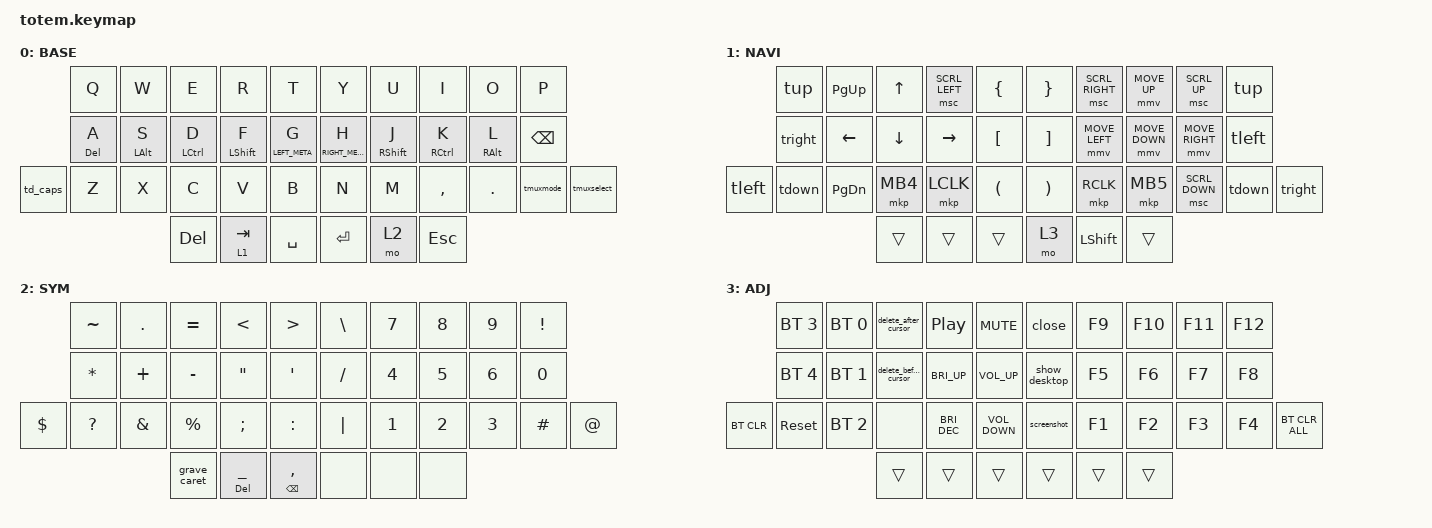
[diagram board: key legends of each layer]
//
//                                                        ▀▀▀▀▀     ▀▀▀▀▀          ▀▀█▀▀
//                                                        ▄▀▀▀▄  ▄  ▄▀▀▀▄  ▄  ▄▀▀▀▄  █  ▄▀▀▀▄
//                                                        █   █  █  █   █  █  █   █  █  █   █
//                                                         ▀▀▀   █   ▀▀▀   █   ▀▀▀   ▀   ▀▀▀
//                                                               █      ▄▄▄█▄▄▄    █   █  
//                                                               ▀      █  █  █     █▄█
//                                                             ▀▀▀▀▀    █  █  █      ▀
//                                                                      ▀  ▀  ▀
//
// ▄▄▄▄▄▄▄▄▄▄▄▄▄▄▄▄▄▄▄▄▄▄▄▄▄▄▄▄▄▄▄▄▄▄▄▄▄▄▄▄▄▄▄▄▄▄▄▄▄▄▄▄▄▄▄▄▄▄▄▄▄▄▄▄▄▄▄▄▄▄▄▄▄▄▄▄▄▄▄▄▄▄▄▄▄▄▄▄▄▄▄▄▄▄▄▄▄▄▄▄▄▄▄▄▄▄▄▄▄▄▄▄▄▄▄▄▄▄▄▄▄▄▄▄▄▄▄▄▄▄▄▄▄▄▄▄▄▄▄▄▄▄▄▄▄▄▄▄▄

#define ZMK_POINTING_DEFAULT_MOVE_VAL 700
#define ZMK_POINTING_DEFAULT_SCRL_VAL 20

#include <behaviors.dtsi>
#include <dt-bindings/zmk/bt.h>
#include <dt-bindings/zmk/keys.h>
#include <dt-bindings/zmk/pointing.h>

#define BASE 0
#define NAV  1
#define SYM  2
#define ADJ 3

&mmv {
    acceleration-exponent = <1>;
    time-to-max-speed-ms = <100>;
};

/ {
    combos { compatible = "zmk,combos"; };

    behaviors {
        td_caps: td_caps {
            compatible = "zmk,behavior-tap-dance";
            #binding-cells = <0>;
            bindings = <&caps_word>, <&kp CAPS>;
        };

        hml: home_row_mod_left {
            compatible = "zmk,behavior-hold-tap";
            #binding-cells = <2>;
            flavor = "balanced";
            tapping-term-ms = <280>;
            quick-tap-ms = <175>;
            require-prior-idle-ms = <210>;
            hold-trigger-on-release;
            hold-trigger-key-positions = <5 6 7 8 9 15 16 17 18 19 26 27 28 29 30 31 32 33 34 35 36 37>;
            bindings = <&kp>, <&kp>;
        };

        hmr: home_row_mod_right {
            compatible = "zmk,behavior-hold-tap";
            #binding-cells = <2>;
            flavor = "balanced";
            tapping-term-ms = <280>;
            quick-tap-ms = <175>;
            require-prior-idle-ms = <210>;
            hold-trigger-on-release;
            hold-trigger-key-positions = <0 1 2 3 4 10 11 12 13 14 20 21 22 23 24 25 32 33 34 35 36 37>;
            bindings = <&kp>, <&kp>;
        };

        grave_caret: grave_caret {
            compatible = "zmk,behavior-tap-dance";
            #binding-cells = <0>;
            bindings = <&kp CARET>, <&kp GRAVE>;

            label = "GRAVE_CARET";
        };

        del_bkp: del_bkp {
            compatible = "zmk,behavior-hold-tap";
            #binding-cells = <2>;
            flavor = "balanced";
            tapping-term-ms = <280>;
            quick-tap-ms = <175>;
            require-prior-idle-ms = <210>;
            hold-trigger-on-release;
            hold-trigger-key-positions = <0 1 2 3 4 10 11 12 13 14 20 21 22 23 24 25 32 33 34 35 36 37>;
            bindings = <&kp>, <&kp>;

            label = "DEL_BKP";
        };

        close: close {
            compatible = "zmk,behavior-tap-dance";
            #binding-cells = <0>;
            bindings = <&kp LA(F4)>, <&kp LG(F4)>;

            label = "CLOSE";
        };

        show_desktop: show_desktop {
            compatible = "zmk,behavior-tap-dance";
            #binding-cells = <0>;
            bindings = <&kp LG(D)>, <&kp LG(F3)>;

            label = "SHOW_DESKTOP";
        };

        screenshot: screenshot {
            compatible = "zmk,behavior-tap-dance";
            #binding-cells = <0>;
            bindings = <&kp LG(LS(S))>, <&kp LG(LS(NUMBER_3))>;

            label = "SCREENSHOT";
        };

        delete_after_cursor: delete_after_cursor {
            compatible = "zmk,behavior-tap-dance";
            #binding-cells = <0>;
            bindings = <&kp LC(DELETE)>, <&kp LA(DELETE)>;

            label = "DELETE_AFTER_CURSOR";
            tapping-term-ms = <200>;
        };

        delete_before_cursor: delete_before_cursor {
            compatible = "zmk,behavior-tap-dance";
            #binding-cells = <0>;
            bindings = <&kp LC(BACKSPACE)>, <&kp LA(BACKSPACE)>;

            label = "DELETE_BEFORE_CURSOR";
            tapping-term-ms = <200>;
        };
    };

    macros {
        tmuxmode: tmuxbegin {
            compatible = "zmk,behavior-macro";
            #binding-cells = <0>;
            bindings = <&kp RC(B)>;
            label = "TMUXBEGIN";
        };

        tleft: tleft {
            compatible = "zmk,behavior-macro";
            #binding-cells = <0>;
            bindings = <&kp LC(B) &kp LEFT>;
            label = "TLEFT";
        };

        tright: tright {
            compatible = "zmk,behavior-macro";
            #binding-cells = <0>;
            bindings = <&kp LC(B) &kp RIGHT_ARROW>;
            label = "TRIGHT";
        };

        tup: tup {
            compatible = "zmk,behavior-macro";
            #binding-cells = <0>;
            bindings = <&kp RC(B) &kp UP_ARROW>;
            label = "TUP";
        };

        tdown: tdown {
            compatible = "zmk,behavior-macro";
            #binding-cells = <0>;
            bindings = <&kp RC(B) &kp DOWN_ARROW>;
            label = "TDOWN";
        };

        tmuxselect: tmuxmode {
            compatible = "zmk,behavior-macro";
            #binding-cells = <0>;
            bindings = <&kp LC(B) &kp LEFT_BRACKET>;
            label = "TMUXMODE";
        };

        parenthesis: brakets {
            compatible = "zmk,behavior-macro";
            #binding-cells = <0>;
            bindings = <&kp LEFT_PARENTHESIS &kp RIGHT_PARENTHESIS &kp LEFT>;
            label = "BRAKETS";
        };

        square_brackets: square_brakets {
            compatible = "zmk,behavior-macro";
            #binding-cells = <0>;
            bindings = <&kp LEFT_BRACKET &kp RIGHT_BRACKET &kp LEFT_ARROW>;
            label = "SQUARE_BRAKETS";
        };

        curly_braces: curly_brakets {
            compatible = "zmk,behavior-macro";
            #binding-cells = <0>;
            bindings = <&kp LEFT_BRACE &kp RIGHT_BRACE &kp LEFT_ARROW>;
            label = "CURLY_BRAKETS";
        };
    };

    keymap {
        compatible = "zmk,keymap";

        // ▄▄▄▄▄▄▄▄▄▄▄▄▄▄▄▄▄▄▄▄▄▄▄▄▄▄▄▄▄▄▄▄▄▄▄▄▄▄▄▄▄▄▄▄▄▄▄▄▄▄▄▄▄▄▄▄▄▄▄▄▄▄▄▄▄▄▄▄▄▄▄▄▄▄▄▄▄▄▄▄▄▄▄▄▄▄▄▄▄▄▄▄▄▄▄▄▄▄▄▄▄▄▄▄▄▄▄▄▄▄▄▄▄▄▄▄▄▄▄▄▄▄▄▄▄▄▄▄▄▄▄▄▄▄▄▄▄▄▄▄▄▄▄▄▄▄▄▄▄

        base_layer {
            // ┏━━━━━━━━━━━━━━━━━━━━━━━━━━━━━━━━━━━━━━━┓

            label = "BASE";

            // ┗━━━━━━━━━━━━━━━━━━━━━━━━━━━━━━━━━━━━━━━┛
            //             ┏━━━━━━━━━━━┳━━━━━━━━━━━┳━━━━━━━━━━━┳━━━━━━━━━━━┳━━━━━━━━━━━┓   ┏━━━━━━━━━━━┳━━━━━━━━━━━┳━━━━━━━━━━━┳━━━━━━━━━━━┳━━━━━━━━━━━┓
            //             ┃     Q     ┃     W     ┃     F     ┃     P     ┃     G     ┃   ┃     J     ┃     L     ┃     U     ┃     Y     ┃     ;     ┃
            //             ┣━━━━━━━━━━━╋━━━━━━━━━━━╋━━━━━━━━━━━╋━━━━━━━━━━━╋━━━━━━━━━━━┫   ┣━━━━━━━━━━━╋━━━━━━━━━━━╋━━━━━━━━━━━╋━━━━━━━━━━━╋━━━━━━━━━━━┫
            //             ┃     A     ┃     R     ┃     S     ┃     T     ┃     D     ┃   ┃     H     ┃     N     ┃     E     ┃     I     ┃     O     ┃
            // ┏━━━━━━━━━━━╋━━━━━━━━━━━╋━━━━━━━━━━━╋━━━━━━━━━━━╋━━━━━━━━━━━╋━━━━━━━━━━━┫   ┣━━━━━━━━━━━╋━━━━━━━━━━━╋━━━━━━━━━━━╋━━━━━━━━━━━╋━━━━━━━━━━━╋━━━━━━━━━━━┓
            // ┃     Q     ┃     Z     ┃     X     ┃     C     ┃     V     ┃     B     ┃   ┃     K     ┃     M     ┃     ,     ┃     .     ┃     /     ┃     \     ┃
            // ┗━━━━━━━━━━━┻━━━━━━━━━━━┻━━━━━━━━━━━╋━━━━━━━━━━━╋━━━━━━━━━━━╋━━━━━━━━━━━┫   ┣━━━━━━━━━━━╋━━━━━━━━━━━╋━━━━━━━━━━━╋━━━━━━━━━━━┻━━━━━━━━━━━┻━━━━━━━━━━━┛
            //                                     ┃    DEL    ┃    TAB    ┃    SPC    ┃   ┃   ENTER   ┃           ┃   BSPC    ┃
            //                                     ┗━━━━━━━━━━━┻━━━━━━━━━━━┻━━━━━━━━━━━┛   ┗━━━━━━━━━━━┻━━━━━━━━━━━┻━━━━━━━━━━━┛

            bindings = <
          &kp Q          &kp W        &kp E         &kp R         &kp T               &kp Y              &kp U         &kp I         &kp O             &kp P
          &hml DELETE A  &hml LALT S  &hml LCTRL D  &hml LSHFT F  &hml LEFT_META G    &hmr RIGHT_META H  &hmr RSHFT J  &hmr RCTRL K  &hmr RIGHT_ALT L  &kp BACKSPACE
&td_caps  &kp Z          &kp X        &kp C         &kp V         &kp B               &kp N              &kp M         &kp COMMA     &kp DOT           &tmuxmode      &tmuxselect
                                      &kp DEL       &lt 1 TAB     &kp SPACE           &kp RET            &mo 2         &kp ESCAPE
            >;
        };

        // ▄▄▄▄▄▄▄▄▄▄▄▄▄▄▄▄▄▄▄▄▄▄▄▄▄▄▄▄▄▄▄▄▄▄▄▄▄▄▄▄▄▄▄▄▄▄▄▄▄▄▄▄▄▄▄▄▄▄▄▄▄▄▄▄▄▄▄▄▄▄▄▄▄▄▄▄▄▄▄▄▄▄▄▄▄▄▄▄▄▄▄▄▄▄▄▄▄▄▄▄▄▄▄▄▄▄▄▄▄▄▄▄▄▄▄▄▄▄▄▄▄▄▄▄▄▄▄▄▄▄▄▄▄▄▄▄▄▄▄▄▄▄▄▄▄▄▄▄▄

        nav_layer {
            // ┏━━━━━━━━━━━━━━━━━━━━━━━━━━━━━━━━━━━━━━━┓

            label = "NAVI";

            // ┗━━━━━━━━━━━━━━━━━━━━━━━━━━━━━━━━━━━━━━━┛
            //             ┏━━━━━━━━━━━┳━━━━━━━━━━━┳━━━━━━━━━━━┳━━━━━━━━━━━┳━━━━━━━━━━━┓   ┏━━━━━━━━━━━┳━━━━━━━━━━━┳━━━━━━━━━━━┳━━━━━━━━━━━┳━━━━━━━━━━━┓
            //             ┃           ┃           ┃     UP    ┃           ┃     {     ┃   ┃     }     ┃     7     ┃     8     ┃     9     ┃     +     ┃
            //             ┣━━━━━━━━━━━╋━━━━━━━━━━━╋━━━━━━━━━━━╋━━━━━━━━━━━╋━━━━━━━━━━━┫   ┣━━━━━━━━━━━╋━━━━━━━━━━━╋━━━━━━━━━━━╋━━━━━━━━━━━╋━━━━━━━━━━━┫
            //             ┃   SHIFT   ┃   LEFT    ┃    DOWN   ┃   RIGHT   ┃     [     ┃   ┃     ]     ┃     4     ┃     5     ┃     6     ┃     -     ┃
            // ┏━━━━━━━━━━━╋━━━━━━━━━━━╋━━━━━━━━━━━╋━━━━━━━━━━━╋━━━━━━━━━━━╋━━━━━━━━━━━┫   ┣━━━━━━━━━━━╋━━━━━━━━━━━╋━━━━━━━━━━━╋━━━━━━━━━━━╋━━━━━━━━━━━╋━━━━━━━━━━━┓
            // ┃           ┃           ┃   P UP    ┃  C LOCK   ┃  P DOWN   ┃     (     ┃   ┃     )     ┃     1     ┃     2     ┃     3     ┃     *     ┃           ┃
            // ┗━━━━━━━━━━━┻━━━━━━━━━━━┻━━━━━━━━━━━╋━━━━━━━━━━━╋━━━━━━━━━━━╋━━━━━━━━━━━┫   ┣━━━━━━━━━━━╋━━━━━━━━━━━╋━━━━━━━━━━━╋━━━━━━━━━━━┻━━━━━━━━━━━┻━━━━━━━━━━━┛
            //                                     ┃           ┃    TAB    ┃    SPC    ┃   ┃    DEL    ┃     0     ┃           ┃
            //                                     ┗━━━━━━━━━━━┻━━━━━━━━━━━┻━━━━━━━━━━━┛   ┗━━━━━━━━━━━┻━━━━━━━━━━━┻━━━━━━━━━━━┛

            bindings = <
        &tup     &kp PAGE_UP    &kp UP    &msc SCRL_LEFT  &kp LBRC    &kp RBRC  &msc SCRL_RIGHT  &mmv MOVE_UP    &msc SCRL_UP     &tup
        &tright  &kp LEFT       &kp DOWN  &kp RIGHT       &kp LBKT    &kp RBKT  &mmv MOVE_LEFT   &mmv MOVE_DOWN  &mmv MOVE_RIGHT  &tleft
&tleft  &tdown   &kp PAGE_DOWN  &mkp MB4  &mkp LCLK       &kp LPAR    &kp RPAR  &mkp RCLK        &mkp MB5        &msc SCRL_DOWN   &tdown  &tright
                                &trans    &trans          &trans      &mo 3     &kp LSHFT        &trans
            >;
        };

        // ▄▄▄▄▄▄▄▄▄▄▄▄▄▄▄▄▄▄▄▄▄▄▄▄▄▄▄▄▄▄▄▄▄▄▄▄▄▄▄▄▄▄▄▄▄▄▄▄▄▄▄▄▄▄▄▄▄▄▄▄▄▄▄▄▄▄▄▄▄▄▄▄▄▄▄▄▄▄▄▄▄▄▄▄▄▄▄▄▄▄▄▄▄▄▄▄▄▄▄▄▄▄▄▄▄▄▄▄▄▄▄▄▄▄▄▄▄▄▄▄▄▄▄▄▄▄▄▄▄▄▄▄▄▄▄▄▄▄▄▄▄▄▄▄▄▄▄▄▄

        sim_layer {
            // ┏━━━━━━━━━━━━━━━━━━━━━━━━━━━━━━━━━━━━━━━┓

            label = "SYM";

            // ┗━━━━━━━━━━━━━━━━━━━━━━━━━━━━━━━━━━━━━━━┛
            //             ┏━━━━━━━━━━━┳━━━━━━━━━━━┳━━━━━━━━━━━┳━━━━━━━━━━━┳━━━━━━━━━━━┓   ┏━━━━━━━━━━━┳━━━━━━━━━━━┳━━━━━━━━━━━┳━━━━━━━━━━━┳━━━━━━━━━━━┓
            //             ┃     !     ┃     @     ┃     #     ┃     $     ┃     %     ┃   ┃     ˆ     ┃     &     ┃     Ü     ┃     '     ┃     "     ┃
            //             ┣━━━━━━━━━━━╋━━━━━━━━━━━╋━━━━━━━━━━━╋━━━━━━━━━━━╋━━━━━━━━━━━┫   ┣━━━━━━━━━━━╋━━━━━━━━━━━╋━━━━━━━━━━━╋━━━━━━━━━━━╋━━━━━━━━━━━┫
            //             ┃     Ä     ┃           ┃    SZ     ┃           ┃           ┃   ┃   MUTE    ┃   YEN     ┃   EURO    ┃  POUND    ┃     Ö     ┃
            // ┏━━━━━━━━━━━╋━━━━━━━━━━━╋━━━━━━━━━━━╋━━━━━━━━━━━╋━━━━━━━━━━━╋━━━━━━━━━━━┫   ┣━━━━━━━━━━━╋━━━━━━━━━━━╋━━━━━━━━━━━╋━━━━━━━━━━━╋━━━━━━━━━━━╋━━━━━━━━━━━┓
            // ┃           ┃  EMAIL1   ┃  EMAIL2   ┃           ┃           ┃           ┃   ┃   VOL-    ┃   VOL+    ┃   LAST    ┃   NEXT    ┃     \     ┃           ┃
            // ┗━━━━━━━━━━━┻━━━━━━━━━━━┻━━━━━━━━━━━╋━━━━━━━━━━━╋━━━━━━━━━━━╋━━━━━━━━━━━┫   ┣━━━━━━━━━━━╋━━━━━━━━━━━╋━━━━━━━━━━━╋━━━━━━━━━━━┻━━━━━━━━━━━┻━━━━━━━━━━━┛
            //                                     ┃           ┃    GIF    ┃    ADJ    ┃   ┃           ┃           ┃           ┃
            //                                     ┗━━━━━━━━━━━┻━━━━━━━━━━━┻━━━━━━━━━━━┛   ┗━━━━━━━━━━━┻━━━━━━━━━━━┻━━━━━━━━━━━┛

            bindings = <
            &kp TILDE     &kp PERIOD     &kp EQUAL     &kp LESS_THAN          &kp GREATER_THAN            &kp BACKSLASH  &kp N7  &kp N8  &kp N9  &kp EXCLAMATION
            &kp ASTERISK  &kp PLUS       &kp MINUS     &kp DOUBLE_QUOTES      &kp SQT                     &kp SLASH      &kp N4  &kp N5  &kp N6  &kp N0
&kp DOLLAR  &kp QUESTION  &kp AMPERSAND  &kp PERCENT   &kp SEMICOLON          &kp COLON                   &kp PIPE       &kp N1  &kp N2  &kp N3  &kp HASH         &kp AT_SIGN
                                         &grave_caret  &del_bkp DELETE UNDER  &del_bkp BACKSPACE COMMA    &none          &none   &none
            >;
        };

        // ▄▄▄▄▄▄▄▄▄▄▄▄▄▄▄▄▄▄▄▄▄▄▄▄▄▄▄▄▄▄▄▄▄▄▄▄▄▄▄▄▄▄▄▄▄▄▄▄▄▄▄▄▄▄▄▄▄▄▄▄▄▄▄▄▄▄▄▄▄▄▄▄▄▄▄▄▄▄▄▄▄▄▄▄▄▄▄▄▄▄▄▄▄▄▄▄▄▄▄▄▄▄▄▄▄▄▄▄▄▄▄▄▄▄▄▄▄▄▄▄▄▄▄▄▄▄▄▄▄▄▄▄▄▄▄▄▄▄▄▄▄▄▄▄▄▄▄▄▄

        adjust_layer {
            // ┏━━━━━━━━━━━━━━━━━━━━━━━━━━━━━━━━━━━━━━━┓

            label = "ADJ";

            // ┗━━━━━━━━━━━━━━━━━━━━━━━━━━━━━━━━━━━━━━━┛
            //             ┏━━━━━━━━━━━┳━━━━━━━━━━━┳━━━━━━━━━━━┳━━━━━━━━━━━┳━━━━━━━━━━━┓   ┏━━━━━━━━━━━┳━━━━━━━━━━━┳━━━━━━━━━━━┳━━━━━━━━━━━┳━━━━━━━━━━━┓
            //             ┃   RESET   ┃ BT CLEAR  ┃  OUT TOG  ┃           ┃           ┃   ┃           ┃    F7     ┃    F8     ┃    F9     ┃    F12    ┃
            //             ┣━━━━━━━━━━━╋━━━━━━━━━━━╋━━━━━━━━━━━╋━━━━━━━━━━━╋━━━━━━━━━━━┫   ┣━━━━━━━━━━━╋━━━━━━━━━━━╋━━━━━━━━━━━╋━━━━━━━━━━━╋━━━━━━━━━━━┫
            //             ┃ BOOTLOAD  ┃ BT NEXT   ┃           ┃           ┃           ┃   ┃           ┃    F4     ┃    F5     ┃    F6     ┃    F11    ┃
            // ┏━━━━━━━━━━━╋━━━━━━━━━━━╋━━━━━━━━━━━╋━━━━━━━━━━━╋━━━━━━━━━━━╋━━━━━━━━━━━┫   ┣━━━━━━━━━━━╋━━━━━━━━━━━╋━━━━━━━━━━━╋━━━━━━━━━━━╋━━━━━━━━━━━╋━━━━━━━━━━━┓
            // ┃           ┃           ┃ BT PREV   ┃           ┃           ┃           ┃   ┃           ┃    F1     ┃    F2     ┃    F3     ┃    F10    ┃           ┃
            // ┗━━━━━━━━━━━┻━━━━━━━━━━━┻━━━━━━━━━━━╋━━━━━━━━━━━╋━━━━━━━━━━━╋━━━━━━━━━━━┫   ┣━━━━━━━━━━━╋━━━━━━━━━━━╋━━━━━━━━━━━╋━━━━━━━━━━━┻━━━━━━━━━━━┻━━━━━━━━━━━┛
            //                                     ┃           ┃           ┃           ┃   ┃           ┃           ┃           ┃
            //                                     ┗━━━━━━━━━━━┻━━━━━━━━━━━┻━━━━━━━━━━━┛   ┗━━━━━━━━━━━┻━━━━━━━━━━━┻━━━━━━━━━━━┛

            bindings = <
            &bt BT_SEL 3  &bt BT_SEL 0  &delete_after_cursor   &kp C_PLAY_PAUSE  &kp C_MUTE           &close         &kp F9  &kp F10  &kp F11  &kp F12
            &bt BT_SEL 4  &bt BT_SEL 1  &delete_before_cursor  &kp C_BRI_UP      &kp C_VOLUME_UP      &show_desktop  &kp F5  &kp F6   &kp F7   &kp F8
&bt BT_CLR  &sys_reset    &bt BT_SEL 2  &none                  &kp C_BRI_DEC     &kp C_VOLUME_DOWN    &screenshot    &kp F1  &kp F2   &kp F3   &kp F4   &bt BT_CLR_ALL
                                        &trans                 &trans            &trans               &trans         &trans  &trans
            >;
        };

        // ▄▄▄▄▄▄▄▄▄▄▄▄▄▄▄▄▄▄▄▄▄▄▄▄▄▄▄▄▄▄▄▄▄▄▄▄▄▄▄▄▄▄▄▄▄▄▄▄▄▄▄▄▄▄▄▄▄▄▄▄▄▄▄▄▄▄▄▄▄▄▄▄▄▄▄▄▄▄▄▄▄▄▄▄▄▄▄▄▄▄▄▄▄▄▄▄▄▄▄▄▄▄▄▄▄▄▄▄▄▄▄▄▄▄▄▄▄▄▄▄▄▄▄▄▄▄▄▄▄▄▄▄▄▄▄▄▄▄▄▄▄▄▄▄▄▄▄▄▄
        // ▄▄▄▄▄▄▄▄▄▄▄▄▄▄▄▄▄▄▄▄▄▄▄▄▄▄▄▄▄▄▄▄▄▄▄▄▄▄▄▄▄▄▄▄▄▄▄▄▄▄▄▄▄▄▄▄▄▄▄▄▄▄▄▄▄▄▄▄▄▄▄▄▄▄▄▄▄▄▄▄▄▄▄▄▄▄▄▄▄▄▄▄▄▄▄▄▄▄▄▄▄▄▄▄▄▄▄▄▄▄▄▄▄▄▄▄▄▄▄▄▄▄▄▄▄▄▄▄▄▄▄▄▄▄▄▄▄▄▄▄▄▄▄▄▄▄▄▄▄
    };
};
